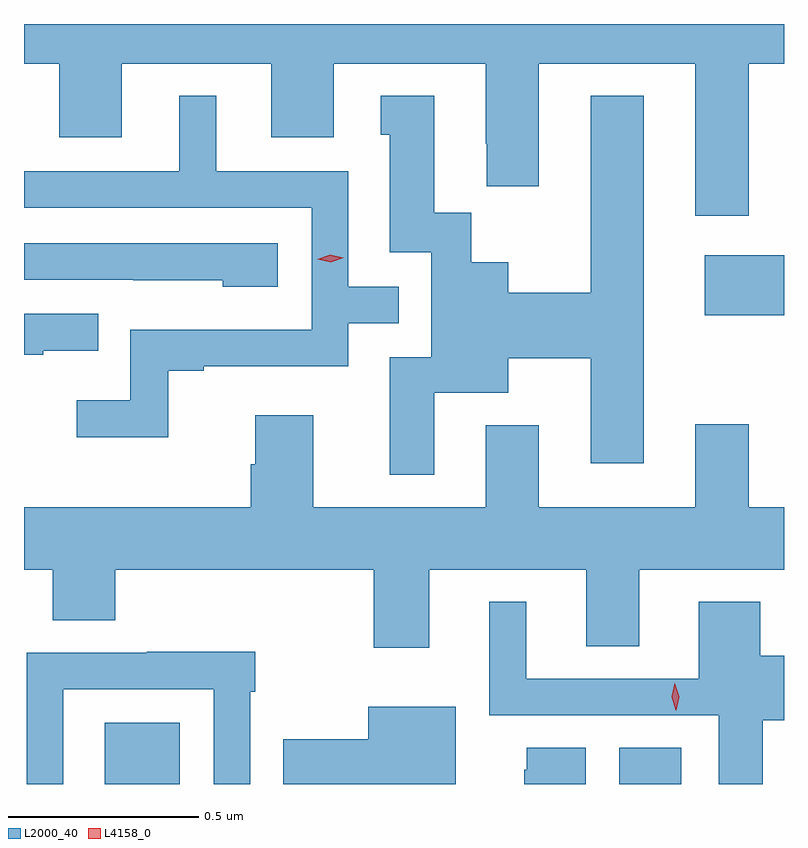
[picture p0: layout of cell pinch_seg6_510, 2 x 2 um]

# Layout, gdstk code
import gdstk
lib = gdstk.Library(unit=1e-6, precision=1e-09)
def R(c, l, rs):  # rectangles x0, y0, x1, y1
    for r in rs: c.add(gdstk.rectangle(r[:2], r[2:], *l))
def P(c, l, *ps):  # polygons
    for p in ps: c.add(gdstk.Polygon(p, *l))
L2000_40 = (2000, 40)
L4158_0 = (4158, 0)

pinch_seg6_510 = lib.new_cell('pinch_seg6_510')
R(pinch_seg6_510, L2000_40, [(857.747,954.764,857.944,954.925), (859.1,954.764,859.264,954.86), (859.326,955.997,859.534,956.155)])
P(pinch_seg6_510, L2000_40, [(859.441,956.66),(859.534,956.66),(859.534,956.764),(857.534,956.764),(857.534,956.66),(857.627,956.66),(857.627,956.466),(857.791,956.466),(857.791,956.66),(858.185,956.66),(858.185,956.466),(858.349,956.466),(858.349,956.66),(858.749,956.66),(858.749,956.449),(858.752,956.449),(858.752,956.337),(858.889,956.337),(858.889,956.66),(859.301,956.66),(859.301,956.259),(859.441,956.259)],
  [(858.613,955.793),(858.808,955.793),(858.808,955.885),(859.025,955.885),(859.025,955.608),(859.165,955.608),(859.165,956.575),(859.025,956.575),(859.025,956.057),(858.808,956.057),(858.808,956.137),(858.711,956.137),(858.711,956.267),(858.613,956.267),(858.613,956.575),(858.473,956.575),(858.473,956.472),(858.497,956.472),(858.497,956.163),(858.606,956.163),(858.606,955.887),(858.497,955.887),(858.497,955.578),(858.613,955.578)],
  [(857.913,955.851),(858.007,955.851),(858.007,955.863),(858.387,955.863),(858.387,955.977),(858.52,955.977),(858.52,956.073),(858.387,956.073),(858.387,956.376),(858.04,956.376),(858.04,956.575),(857.942,956.575),(857.942,956.376),(857.534,956.376),(857.534,956.28),(858.291,956.28),(858.291,955.959),(857.814,955.959),(857.814,955.774),(857.673,955.774),(857.673,955.676),(857.913,955.676)],
  [(858.202,956.187),(857.534,956.187),(857.534,956.091),(857.821,956.091),(857.821,956.09),(858.057,956.09),(858.057,956.072),(858.202,956.072)],
  [(857.585,955.904),(857.729,955.904),(857.729,956.001),(857.534,956.001),(857.534,955.893),(857.585,955.893)],
  [(858.601,955.328),(859.013,955.328),(859.013,955.126),(859.153,955.126),(859.153,955.328),(859.534,955.328),(859.534,955.492),(859.441,955.492),(859.441,955.711),(859.301,955.711),(859.301,955.492),(858.889,955.492),(858.889,955.708),(858.749,955.708),(858.749,955.492),(858.295,955.492),(858.295,955.735),(858.143,955.735),(858.143,955.605),(858.131,955.605),(858.131,955.492),(857.534,955.492),(857.534,955.328),(857.609,955.328),(857.609,955.195),(857.774,955.195),(857.774,955.328),(858.454,955.328),(858.454,955.122),(858.601,955.122)],
  [(859.478,954.932),(859.534,954.932),(859.534,955.102),(859.472,955.102),(859.472,955.243),(859.31,955.243),(859.31,955.041),(858.856,955.041),(858.856,955.243),(858.758,955.243),(858.758,954.945),(859.362,954.945),(859.362,954.764),(859.478,954.764)],
  [(857.637,955.014),(858.033,955.014),(858.033,954.764),(858.129,954.764),(858.129,955.007),(858.142,955.007),(858.142,955.112),(857.857,955.112),(857.857,955.11),(857.541,955.11),(857.541,954.764),(857.637,954.764)],
  [(858.67,954.967),(858.44,954.967),(858.44,954.882),(858.216,954.882),(858.216,954.764),(858.67,954.764)],
  [(859.012,954.86),(858.857,954.86),(858.857,954.801),(858.851,954.801),(858.851,954.764),(859.012,954.764)])
P(pinch_seg6_510, L4158_0, [(859.249,954.958),(859.238,954.993),(859.246,955.029),(859.246,955.029),(859.247,955.029),(859.258,954.994),(859.25,954.958),(859.25,954.958)],
  [(858.341,956.137),(858.306,956.145),(858.306,956.145),(858.306,956.145),(858.34,956.157),(858.375,956.149),(858.375,956.149),(858.375,956.149)])

lib.write_gds('pinch_seg6_510.gds')
